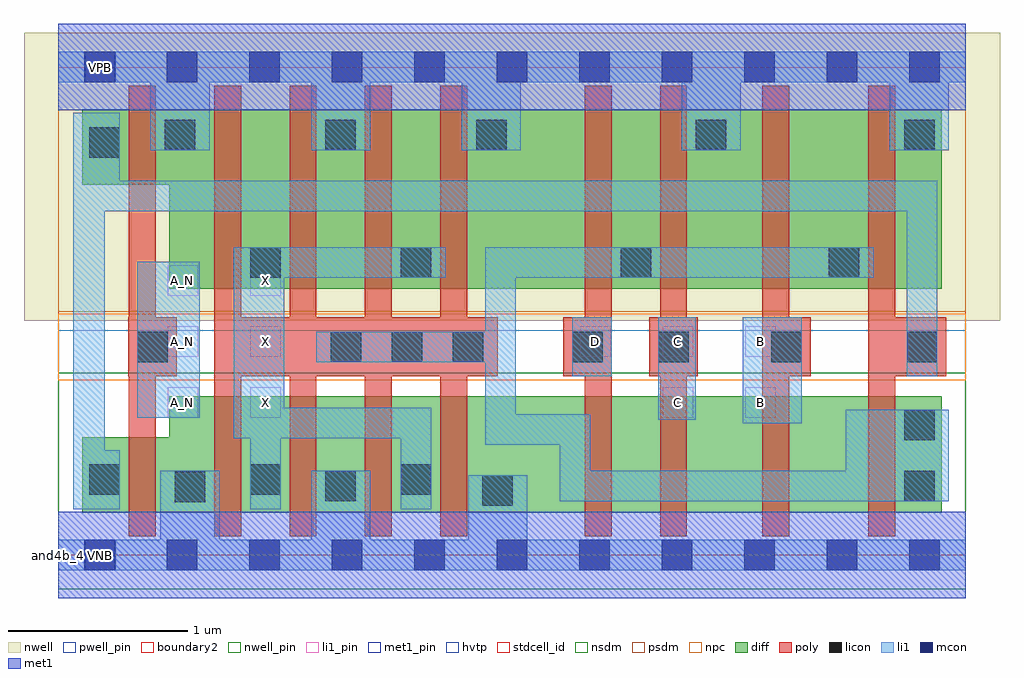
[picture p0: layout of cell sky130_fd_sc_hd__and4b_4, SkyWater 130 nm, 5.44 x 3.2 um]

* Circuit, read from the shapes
.subckt sky130_fd_sc_hd__and4b_4 A_N B C D VGND VNB VPB VPWR X
XM1 VGND A_N n1 VNB sky130_fd_pr__nfet_01v8 w=0.42 l=0.15
XM2 X n2 VGND VNB sky130_fd_pr__nfet_01v8 w=0.65 l=0.15 m=4
XM3 n3 D VGND VNB sky130_fd_pr__nfet_01v8 w=0.65 l=0.15
XM4 n4 C n3 VNB sky130_fd_pr__nfet_01v8 w=0.65 l=0.15
XM5 n5 B n4 VNB sky130_fd_pr__nfet_01v8 w=0.65 l=0.15
XM6 n2 n1 n5 VNB sky130_fd_pr__nfet_01v8 w=0.65 l=0.15
XM7 VPWR A_N n1 VPB sky130_fd_pr__pfet_01v8_hvt w=0.42 l=0.15
XM8 X n2 VPWR VPB sky130_fd_pr__pfet_01v8_hvt w=1 l=0.15 m=4
XM9 n2 D VPWR VPB sky130_fd_pr__pfet_01v8_hvt w=1 l=0.15
XM10 VPWR C n2 VPB sky130_fd_pr__pfet_01v8_hvt w=1 l=0.15
XM11 n2 B VPWR VPB sky130_fd_pr__pfet_01v8_hvt w=1 l=0.15
XM12 VPWR n1 n2 VPB sky130_fd_pr__pfet_01v8_hvt w=1 l=0.15
.ends

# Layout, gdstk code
import gdstk
lib = gdstk.Library(unit=1e-6, precision=1e-09)
def R(c, l, rs):  # rectangles x0, y0, x1, y1
    for r in rs: c.add(gdstk.rectangle(r[:2], r[2:], *l))
def A(c, l, x, y, w, h, nx, ny, dx, dy):  # array of equal rectangles
    R(c, l, [(x+i*dx, y+j*dy, x+i*dx+w, y+j*dy+h) for i in range(nx) for j in range(ny)])
def P(c, l, *ps):  # polygons
    for p in ps: c.add(gdstk.Polygon(p, *l))
nwell_pin = (64, 16)
nwell = (64, 20)
diff = (65, 20)
poly = (66, 20)
licon = (66, 44)
li1_pin = (67, 16)
li1 = (67, 20)
mcon = (67, 44)
met1_pin = (68, 16)
met1 = (68, 20)
hvtp = (78, 44)
stdcell_id = (81, 4)
nsdm = (93, 44)
psdm = (94, 20)
npc = (95, 20)
pwell_pin = (122, 16)
boundary2 = (236, 0)

sky130_fd_sc_hd__and4b_4 = lib.new_cell('sky130_fd_sc_hd__and4b_4')
R(sky130_fd_sc_hd__and4b_4, nwell_pin, [(0.15,2.635,0.32,2.805)])
R(sky130_fd_sc_hd__and4b_4, nwell, [(-0.19,1.305,5.25,2.91)])
P(sky130_fd_sc_hd__and4b_4, diff, [(4.925,2.485),(0.135,2.485),(0.135,2.065),(0.62,2.065),(0.62,1.485),(4.925,1.485)],
  [(4.925,0.885),(0.62,0.885),(0.62,0.655),(0.135,0.655),(0.135,0.235),(4.925,0.235)])
P(sky130_fd_sc_hd__and4b_4, poly, [(0.66,1.325),(0.545,1.325),(0.545,2.615),(0.395,2.615),(0.395,1.325),(0.39,1.325),(0.39,0.995),(0.395,0.995),(0.395,0.105),(0.545,0.105),(0.545,0.995),(0.66,0.995)],
  [(2.45,1.325),(2.28,1.325),(2.28,2.615),(2.13,2.615),(2.13,1.325),(1.86,1.325),(1.86,2.615),(1.71,2.615),(1.71,1.325),(1.44,1.325),(1.44,2.615),(1.29,2.615),(1.29,1.325),(1.02,1.325),(1.02,2.615),(0.87,2.615),(0.87,0.105),(1.02,0.105),(1.02,0.995),(1.29,0.995),(1.29,0.105),(1.44,0.105),(1.44,0.995),(1.71,0.995),(1.71,0.105),(1.86,0.105),(1.86,0.995),(2.13,0.995),(2.13,0.105),(2.28,0.105),(2.28,0.995),(2.45,0.995)],
  [(3.085,2.615),(2.935,2.615),(2.935,1.325),(2.815,1.325),(2.815,0.995),(2.935,0.995),(2.935,0.105),(3.085,0.105)],
  [(3.565,1.325),(3.505,1.325),(3.505,2.615),(3.355,2.615),(3.355,1.325),(3.295,1.325),(3.295,0.995),(3.355,0.995),(3.355,0.105),(3.505,0.105),(3.505,0.995),(3.565,0.995)],
  [(4.195,1.325),(4.075,1.325),(4.075,2.615),(3.925,2.615),(3.925,0.105),(4.075,0.105),(4.075,0.995),(4.195,0.995)],
  [(4.95,1.325),(4.665,1.325),(4.665,2.615),(4.515,2.615),(4.515,0.105),(4.665,0.105),(4.665,0.995),(4.95,0.995)])
A(sky130_fd_sc_hd__and4b_4, licon, 1.52, 1.075, 0.17, 0.17, 3, 1, 0.34, 0)
R(sky130_fd_sc_hd__and4b_4, licon, [(2.365,0.275,2.535,0.445), (0.65,0.295,0.82,0.465), (1.49,0.3,1.66,0.47), (4.715,0.3,4.885,0.47), (0.175,0.335,0.345,0.505), (1.07,0.335,1.24,0.505), (1.91,0.335,2.08,0.505), (4.715,0.64,4.885,0.81), (0.44,1.075,0.61,1.245), (2.865,1.075,3.035,1.245), (3.345,1.075,3.515,1.245), (3.975,1.075,4.145,1.245), (4.73,1.075,4.9,1.245), (1.07,1.545,1.24,1.715), (1.91,1.545,2.08,1.715), (3.135,1.545,3.305,1.715), (4.295,1.545,4.465,1.715), (0.175,2.215,0.345,2.385), (0.595,2.255,0.765,2.425), (1.49,2.255,1.66,2.425), (2.33,2.255,2.5,2.425), (3.555,2.255,3.725,2.425), (4.715,2.255,4.885,2.425)])
A(sky130_fd_sc_hd__and4b_4, li1_pin, 0.61, 0.765, 0.17, 0.17, 1, 3, 0, 0.34)
A(sky130_fd_sc_hd__and4b_4, li1_pin, 1.07, 0.765, 0.17, 0.17, 1, 3, 0, 0.34)
A(sky130_fd_sc_hd__and4b_4, li1_pin, 2.91, 1.105, 0.17, 0.17, 3, 1, 0.46, 0)
R(sky130_fd_sc_hd__and4b_4, li1_pin, [(3.37,0.765,3.54,0.935), (3.83,0.765,4,0.935)])
R(sky130_fd_sc_hd__and4b_4, li1, [(3.815,0.735,4.145,1.325), (3.345,0.755,3.555,1.325), (0.44,0.765,0.79,1.635), (2.865,0.995,3.085,1.325)])
P(sky130_fd_sc_hd__and4b_4, li1, [(5.06,0.085),(2.615,0.085),(2.615,0.445),(2.285,0.445),(2.285,0.085),(1.74,0.085),(1.74,0.47),(1.41,0.47),(1.41,0.085),(0.9,0.085),(0.9,0.47),(0.57,0.47),(0.57,0.085),(0,0.085),(0,-0.085),(5.06,-0.085)],
  [(5.06,2.805),(0,2.805),(0,2.635),(0.515,2.635),(0.515,2.255),(0.845,2.255),(0.845,2.635),(1.41,2.635),(1.41,2.255),(1.74,2.255),(1.74,2.635),(2.25,2.635),(2.25,2.255),(2.58,2.255),(2.58,2.635),(3.475,2.635),(3.475,2.255),(3.805,2.255),(3.805,2.635),(4.635,2.635),(4.635,2.255),(4.965,2.255),(4.965,2.635),(5.06,2.635)],
  [(2.16,1.715),(0.98,1.715),(0.98,0.65),(1.07,0.65),(1.07,0.255),(1.24,0.255),(1.24,0.65),(1.91,0.65),(1.91,0.255),(2.08,0.255),(2.08,0.82),(1.26,0.82),(1.26,1.545),(2.16,1.545)],
  [(4.965,0.81),(4.39,0.81),(4.39,0.47),(2.965,0.47),(2.965,0.785),(2.55,0.785),(2.55,1.545),(4.545,1.545),(4.545,1.715),(2.38,1.715),(2.38,1.245),(1.44,1.245),(1.44,1.075),(2.38,1.075),(2.38,0.615),(2.795,0.615),(2.795,0.3),(4.965,0.3)],
  [(4.9,2.085),(0.345,2.085),(0.345,2.465),(0.085,2.465),(0.085,0.255),(0.345,0.255),(0.345,0.585),(0.26,0.585),(0.26,1.915),(4.73,1.915),(4.73,0.995),(4.9,0.995)])
A(sky130_fd_sc_hd__and4b_4, mcon, 0.145, -0.085, 0.17, 0.17, 11, 2, 0.46, 2.72)
R(sky130_fd_sc_hd__and4b_4, met1_pin, [(0.15,-0.085,0.32,0.085), (0.15,2.635,0.32,2.805)])
R(sky130_fd_sc_hd__and4b_4, hvtp, [(0,1.25,5.06,2.72)])
R(sky130_fd_sc_hd__and4b_4, stdcell_id, [(0,0,5.06,2.72)])
R(sky130_fd_sc_hd__and4b_4, nsdm, [(0,-0.19,5.06,1.015)])
R(sky130_fd_sc_hd__and4b_4, psdm, [(0,1.355,5.06,2.91)])
R(sky130_fd_sc_hd__and4b_4, npc, [(0,0.975,5.06,1.345)])
R(sky130_fd_sc_hd__and4b_4, pwell_pin, [(0.15,-0.085,0.32,0.085)])
R(sky130_fd_sc_hd__and4b_4, boundary2, [(0,0,5.06,2.72)])
sky130_fd_sc_hd__and4b_4.add(gdstk.FlexPath([(0,2.72),(5.06,2.72)], 0.48, ends="flush", simple_path=True, layer=68, datatype=20))  # met1
sky130_fd_sc_hd__and4b_4.add(gdstk.FlexPath([(0,0),(5.06,0)], 0.48, ends="flush", simple_path=True, layer=68, datatype=20))  # met1
sky130_fd_sc_hd__and4b_4.add(gdstk.Label('X', (1.155,1.53), layer=67, texttype=5))
sky130_fd_sc_hd__and4b_4.add(gdstk.Label('D', (2.995,1.19), layer=67, texttype=5))
sky130_fd_sc_hd__and4b_4.add(gdstk.Label('C', (3.455,0.85), layer=67, texttype=5))
sky130_fd_sc_hd__and4b_4.add(gdstk.Label('C', (3.455,1.19), layer=67, texttype=5))
sky130_fd_sc_hd__and4b_4.add(gdstk.Label('B', (3.915,1.19), layer=67, texttype=5))
sky130_fd_sc_hd__and4b_4.add(gdstk.Label('A_N', (0.695,0.85), layer=67, texttype=5))
sky130_fd_sc_hd__and4b_4.add(gdstk.Label('A_N', (0.695,1.53), layer=67, texttype=5))
sky130_fd_sc_hd__and4b_4.add(gdstk.Label('X', (1.155,0.85), layer=67, texttype=5))
sky130_fd_sc_hd__and4b_4.add(gdstk.Label('A_N', (0.695,1.19), layer=67, texttype=5))
sky130_fd_sc_hd__and4b_4.add(gdstk.Label('X', (1.155,1.19), layer=67, texttype=5))
sky130_fd_sc_hd__and4b_4.add(gdstk.Label('B', (3.915,0.85), layer=67, texttype=5))
sky130_fd_sc_hd__and4b_4.add(gdstk.Label('VNB', (0.235,0), layer=64, texttype=59))
sky130_fd_sc_hd__and4b_4.add(gdstk.Label('VPB', (0.235,2.72), layer=64, texttype=5))
sky130_fd_sc_hd__and4b_4.add(gdstk.Label('VGND', (0.23,0), layer=68, texttype=5))
sky130_fd_sc_hd__and4b_4.add(gdstk.Label('VPWR', (0.23,2.72), layer=68, texttype=5))
sky130_fd_sc_hd__and4b_4.add(gdstk.Label('and4b_4', (0,0), layer=83, texttype=44))

lib.write_gds('sky130_fd_sc_hd__and4b_4.gds')
